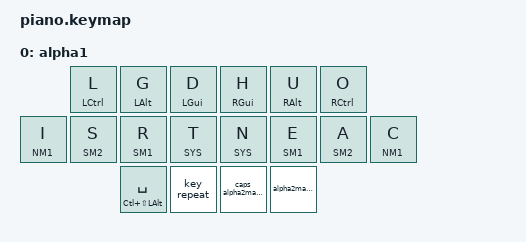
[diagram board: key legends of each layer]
/*
 * Copyright (c) 2020 The ZMK Contributors
 *
 * SPDX-License-Identifier: MIT
 */

#include <behaviors.dtsi>
#include <dt-bindings/zmk/keys.h>
#include <dt-bindings/zmk/bt.h>
#include <dt-bindings/zmk/mouse.h>



&mt {
    tapping-term-ms = <201>;
    flavor = "tap-preferred";
 };
&sk {
     release-after-ms = <2000>;
     quick-release;
 };
 
/* Layers */
#define AL1 0
#define AL2 1
#define SM1 2
#define SM2 3	
#define NM1 4	
#define SYS 5
#define BT 6	
#define AL2U 7
/ { 
    combos {
        compatible = "zmk,combos";
        combo_sys {
            timeout-ms = <30>;
	    key-positions = <3 4 5>;
            bindings = <&to SYS>;
        };
        combo_caps {
            timeout-ms = <30>;
	    key-positions = <10 11 12>;
            bindings = <&caps_word>;
        };
        combo_bt  {
            timeout-ms = <10>;
            key-positions = <11 12>;
            bindings = <&to BT>;
	    layers = <SM1>; 
        };
        lalt {
            timeout-ms = <20>;
	    key-positions = <8 9>;
            bindings = <&kp LALT>; 
	    layers = <SYS>; 
        };
        lclk {
            timeout-ms = <20>;
	    key-positions = <10 11>;
            bindings = <&mkp LCLK>;
	    layers = <SYS>;
        };
        rclk {
            timeout-ms = <20>;
	    key-positions = <3 4>;
            bindings = <&mkp RCLK>;
	    layers = <SYS>;
        };


    };

    behaviors {
        hm_l: homerow_mods_left {
            compatible = "zmk,behavior-hold-tap";
            label = "HOMEROW_MODS_L";
            #binding-cells = <2>;
            tapping-term-ms = <300>;
            quick-tap-ms = <250>;
            flavor = "tap-preferred";
            bindings = <&kp>, <&kp>;
        };
        hm_r: homerow_mods_right {
            compatible = "zmk,behavior-hold-tap";
            label = "HOMEROW_MODS_R";
            #binding-cells = <2>;
            tapping-term-ms = <300>;
            quick-tap-ms = <250>;
            flavor = "tap-preferred";
            bindings = <&kp>, <&kp>;
        };
        sr: shift_layer {
            compatible = "zmk,behavior-hold-tap";
            label = "SHIFT_LAYER";
            #binding-cells = <2>;
            tapping-term-ms = <300>;
            quick_tap_ms = <0>;
            flavor = "tap-preferred";
            bindings = <&kp>, <&to>;
	    retro-tap;
        };
        hl_l: homerow_layers_left {
            compatible = "zmk,behavior-hold-tap";
            label = "HOMEROW_LAYERS_L";
            #binding-cells = <2>;
            tapping-term-ms = <220>;
            quick-tap-ms = <250>;
            flavor = "tap-preferred";
            bindings = <&mo>, <&kp>;
        };
        hl_r: homerow_layers_right {
            compatible = "zmk,behavior-hold-tap";
            label = "HOMEROW_LAYERS_R";
            #binding-cells = <2>;
            tapping-term-ms = <220>;
            quick-tap-ms = <250>;
            flavor = "tap-preferred";
            bindings = <&mo>, <&kp>;
        };
	td: tapdance {
            compatible = "zmk,behavior-hold-tap";
            label = "TAPDANCE";
            #binding-cells = <2>;
            tapping-term-ms = <190>;
            quick-tap-ms = <250>;
            flavor = "tap-preferred";
            bindings = <&kp>, <&kp>;
        };
	alpha2macro: behavior_macro_1 {
		compatible = "zmk,behavior-macro";
		label = "MACRO1";
		#binding-cells = <0>;
		bindings = < &sl AL2 >;
	};
	caps_alpha2macro: behavior_macro_2 {
		compatible = "zmk,behavior-macro";
		label = "MACRO2";
		#binding-cells = <0>;
		bindings = < &sl AL2U >;
	};
    };
// 				0		1		2					3		4			5
// 		6		7		8		9 					10		11			12 		13
//								14	15 	16 	17		
       keymap {
                compatible = "zmk,keymap";
                
       		alpha1 {
		bindings = <
		 		&hm_l LCTL L 	&hm_l LALT G 	&hm_l LGUI D		&hm_r RGUI H 	&hm_r RALT U    	&hm_r RCTL O	  
		&hl_l NM1 I	&hl_l SM2 S	&hl_l SM1 R	&hl_l SYS T 	 	&hl_r SYS N    	&hl_r SM1 E   		&hl_r SM2 A 	&hl_r NM1 C
			 	 		 		&mt LC(LS(LALT)) SPC &key_repeat  &caps_alpha2macro	&alpha2macro	 	
		>;
		};
        
	};
};
